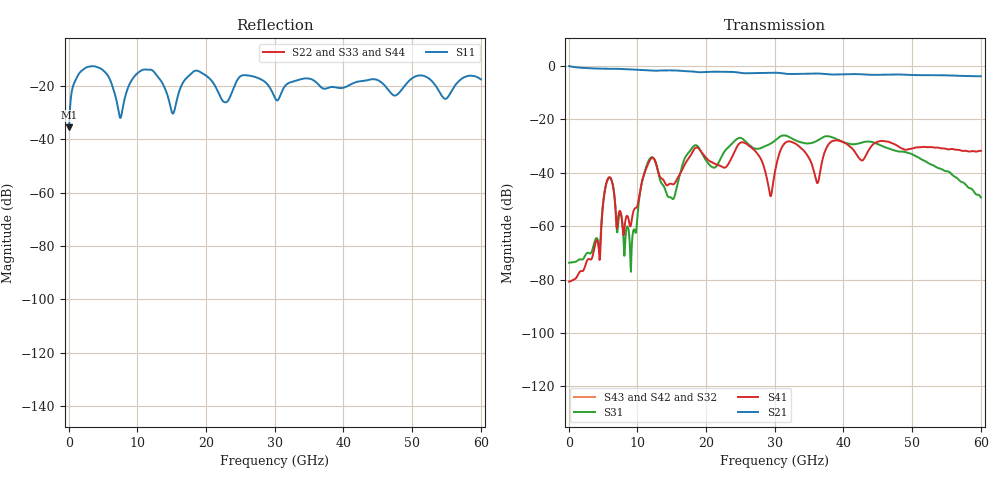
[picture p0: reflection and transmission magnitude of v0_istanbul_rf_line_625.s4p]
! TOUCHSTONE file generated by CST MICROWAVE STUDIO
! Date and time: Fri Nov  6 10:02:26 2026
! Project name: v0_istanbul_rf_line_625.cst
! Parameters = {LN_THICKNESS=0.000275; SILICON_THICKNESS=0.55}
! Header version: 2024
! Port assignment regex: !\s*Touchstone port\s*([0-9]+)\s*=\s*(CST MWS port|CST DES external port|CST DES block port)\s*(.+)\s* \(\"(.*)\"\)(\s*mode\s*([0-9]+))?.*
! Touchstone port assignment:
! Touchstone port 1 = CST MWS port 1 ("")
! Touchstone port 2 = CST MWS port 2 ("")
! Touchstone port 3 = CST MWS port 3 ("")
! Touchstone port 4 = CST MWS port 4 ("")
# GHz S MA R 50
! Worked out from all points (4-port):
!   1000 points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, 60 MHz to 60 GHz, reference 50 ohm
!   strongest paths, dB at 60 MHz, 15.06 GHz, 30.06 GHz, 45.06 GHz, 60 GHz:
!     S21: -0.1, -1.7, -2.5, -3.3, -3.9
!     S41: -80.8, -44.3, -39.2, -28.3, -31.8
!     S31: -73.7, -49.7, -27.9, -29.4, -49.3
!     S43: -, -, -, -, -
!     S42: -, -, -, -, -
!     S32: -, -, -, -, -
!   lowest |S11| = -35.5 dB at 60 MHz (marker M1), VSWR 1.03, Z = 51.3 + j1.13 ohm
!   |S11| at or under -10 dB: start of sweep to end of sweep
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0.06  0.01672 41.0  0 0.0  0 0.0  0 0.0
      0.9876 -1.8  0 0.0  0 0.0  0 0.0
      0.0002068 -21.9  0 0.0  0 0.0  0 0.0
      9.128e-05 159.1  0 0.0  0 0.0  0 0.0
7.08  0.04463 -58.4  0 0.0  0 0.0  0 0.0
      0.8811 -170.2  0 0.0  0 0.0  0 0.0
      0.0007591 -28.3  0 0.0  0 0.0  0 0.0
      0.001027 167.4  0 0.0  0 0.0  0 0.0
15  0.03247 -30.5  0 0.0  0 0.0  0 0.0
    0.8231 4.2  0 0.0  0 0.0  0 0.0
    0.003324 -2.9  0 0.0  0 0.0  0 0.0
    0.006139 -54.5  0 0.0  0 0.0  0 0.0
24.84  0.1448 12.3  0 0.0  0 0.0  0 0.0
       0.7437 133.4  0 0.0  0 0.0  0 0.0
       0.04485 -160.2  0 0.0  0 0.0  0 0.0
       0.03518 -172.7  0 0.0  0 0.0  0 0.0
34.62  0.1378 -18.7  0 0.0  0 0.0  0 0.0
       0.7148 -90.7  0 0.0  0 0.0  0 0.0
       0.03528 37.6  0 0.0  0 0.0  0 0.0
       0.02223 -152.4  0 0.0  0 0.0  0 0.0
41.94  0.1185 -11.3  0 0.0  0 0.0  0 0.0
       0.7018 98.4  0 0.0  0 0.0  0 0.0
       0.03472 12.7  0 0.0  0 0.0  0 0.0
       0.02144 29.3  0 0.0  0 0.0  0 0.0
60  0.1321 -43.6  0 0.0  0 0.0  0 0.0
    0.6386 36.0  0 0.0  0 0.0  0 0.0
    0.003436 135.1  0 0.0  0 0.0  0 0.0
    0.02563 -40.1  0 0.0  0 0.0  0 0.0
